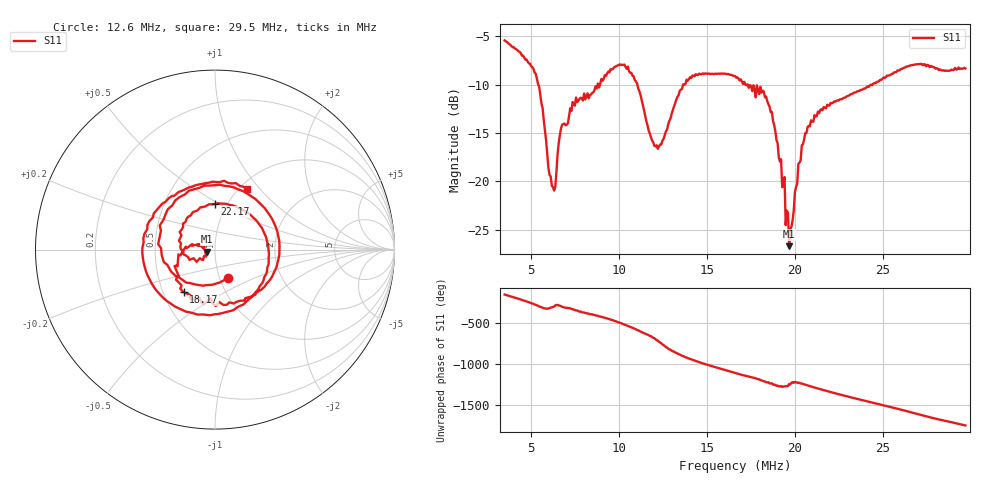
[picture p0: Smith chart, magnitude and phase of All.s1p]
# Hz S RI R 50
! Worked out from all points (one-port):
!   401 points, 3.5 MHz to 29.7 MHz, reference 50 ohm
!   lowest |S11| = -26.7 dB at 19.68 MHz (marker M1), VSWR 1.10, Z = 45.7 - j1.11 ohm
!   |S11| at or under -10 dB: 5.419 MHz to 8.789 MHz (3.37 MHz wide, 47.4 % of centre); 11.05 MHz to 13.65 MHz (2.597 MHz wide, 21 % of centre); 17.33 MHz to 24.33 MHz (6.997 MHz wide, 33.6 % of centre)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
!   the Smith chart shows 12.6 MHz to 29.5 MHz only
!   S11 on the Smith chart (normalised r, x): 12.6 MHz: 1.10, -0.35; 18.17 MHz: 0.64, -0.33; 22.17 MHz: 0.88, +0.48; 29.5 MHz: 1.07, +0.86
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3500000  -0.5014 -0.1901
4810000  -0.1614 0.3841
5530500  0.1758 0.2178
6251000  0.0602 0.0709
6775000  0.1202 0.1556
8543500  0.2025 -0.2058
9460500  -0.048 -0.3632
1.005e7  -0.3134 -0.2536
1.0574e7  -0.3694 0.0358
1.11635e7  -0.1372 0.2582
1.2015e7  0.1299 0.0798
1.26045e7  0.0736 -0.1564
1.3325e7  -0.245 -0.1219
1.39145e7  -0.2864 0.1674
1.4766e7  0.0262 0.3611
1.57485e7  0.3301 0.1443
1.66e7  0.3074 -0.1676
1.8172e7  -0.1752 -0.2372
1.96785e7  -0.0445 -0.0121
1.9875e7  -0.0497 -0.0386
2.0661e7  -0.1775 -0.00818
2.21675e7  -0.00173 0.255
2.315e7  0.2268 0.1663
2.4591e7  0.2496 -0.2028
2.6425e7  -0.2875 -0.2698
2.7473e7  -0.377 0.1134
2.95035e7  0.1758 0.3402
2.97e7  0.2317 0.3062
